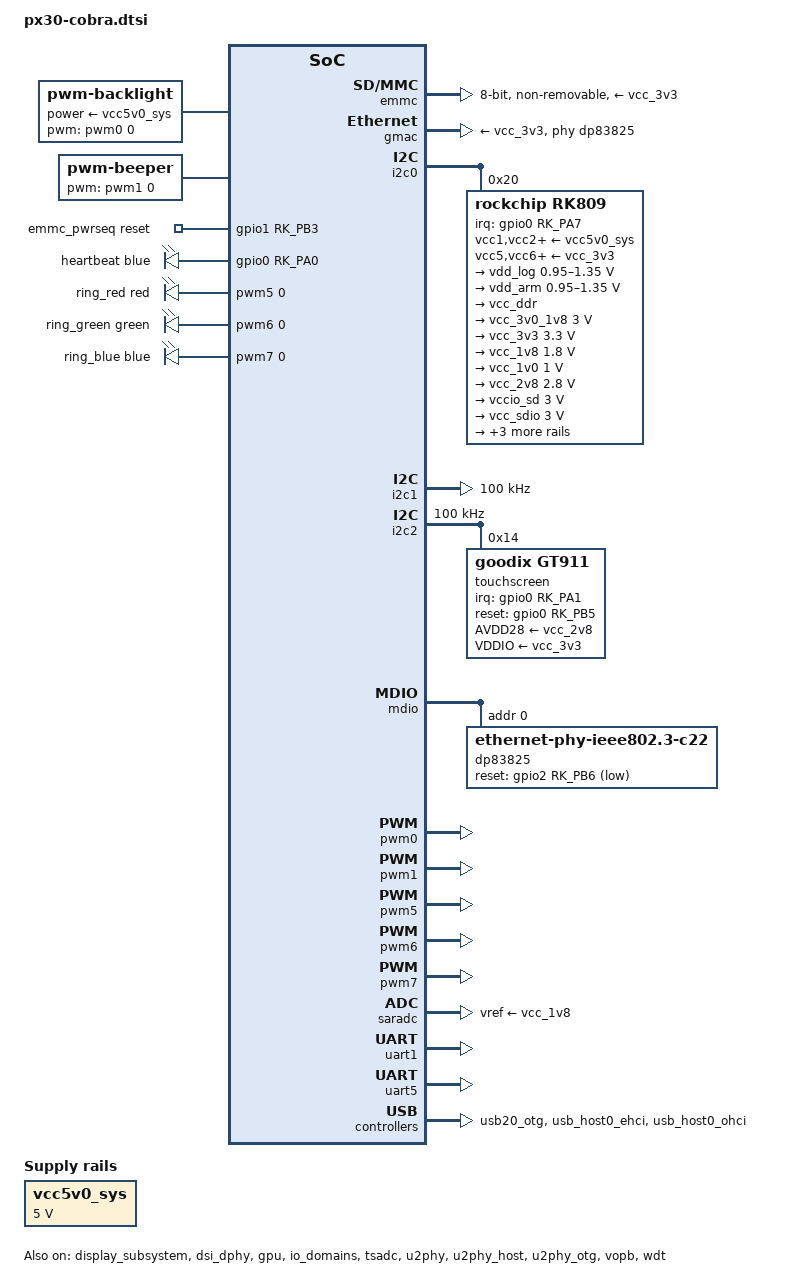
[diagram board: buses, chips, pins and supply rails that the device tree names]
// SPDX-License-Identifier: (GPL-2.0+ OR MIT)
/*
 * Copyright (c) 2025 Cherry Embedded Solutions GmbH
 */

/dts-v1/;
#include <dt-bindings/gpio/gpio.h>
#include <dt-bindings/input/input.h>
#include <dt-bindings/leds/common.h>
#include <dt-bindings/pinctrl/rockchip.h>
#include "px30.dtsi"

/ {
	aliases {
		ethernet0 = &gmac;
		mmc0 = &emmc;
	};

	chosen {
		stdout-path = "serial5:115200n8";
	};

	backlight: backlight {
		compatible = "pwm-backlight";
		power-supply = <&vcc5v0_sys>;
		pwms = <&pwm0 0 25000 0>;
	};

	beeper {
		compatible = "pwm-beeper";
		pwms = <&pwm1 0 1000 0>;
	};

	emmc_pwrseq: emmc-pwrseq {
		compatible = "mmc-pwrseq-emmc";
		pinctrl-0 = <&emmc_reset>;
		pinctrl-names = "default";
		reset-gpios = <&gpio1 RK_PB3 GPIO_ACTIVE_HIGH>;
	};

	gpio-leds {
		compatible = "gpio-leds";
		pinctrl-names = "default";
		pinctrl-0 = <&heartbeat_led_pin>;

		/*
		 * LED14 on the PCB. Typically NOT populated.
		 */
		led-0 {
			color = <LED_COLOR_ID_BLUE>;
			gpios = <&gpio0 RK_PA0 GPIO_ACTIVE_HIGH>;
			label = "heartbeat";
			linux,default-trigger = "heartbeat";
		};
	};

	pwm-leds {
		compatible = "pwm-leds";

		ring_red: led-0 {
			color = <LED_COLOR_ID_RED>;
			default-state = "off";
			label = "ring_red";
			pwms = <&pwm5 0 1000000 0>;
			max-brightness = <255>;
		};

		ring_green: led-1 {
			color = <LED_COLOR_ID_GREEN>;
			default-state = "off";
			label = "ring_green";
			pwms = <&pwm6 0 1000000 0>;
			max-brightness = <255>;
		};

		ring_blue: led-2 {
			color = <LED_COLOR_ID_BLUE>;
			default-state = "off";
			label = "ring_blue";
			pwms = <&pwm7 0 1000000 0>;
			max-brightness = <255>;
		};
	};

	/* also named 5V_Q7 in schematics */
	vcc5v0_sys: regulator-vccsys {
		compatible = "regulator-fixed";
		regulator-name = "vcc5v0_sys";
		regulator-always-on;
		regulator-boot-on;
		regulator-min-microvolt = <5000000>;
		regulator-max-microvolt = <5000000>;
	};
};

&cpu0 {
	cpu-supply = <&vdd_arm>;
};

&cpu1 {
	cpu-supply = <&vdd_arm>;
};

&cpu2 {
	cpu-supply = <&vdd_arm>;
};

&cpu3 {
	cpu-supply = <&vdd_arm>;
};

&display_subsystem {
	status = "okay";
};

&dsi_dphy {
	status = "okay";
};

&emmc {
	bus-width = <8>;
	cap-mmc-highspeed;
	/*
	 * For hs200 support, U-Boot would have to set the RK809 DCDC4
	 * rail to 1.8V from the default of 3.0V. It doesn't do that on
	 * devices out in the field, so disable hs200.
	 * mmc-hs200-1_8v;
	 */
	mmc-pwrseq = <&emmc_pwrseq>;
	non-removable;
	vmmc-supply = <&vcc_3v3>;
	vqmmc-supply = <&vcc_emmc>;
	status = "okay";
};

&gmac {
	clock_in_out = "output";
	phy-handle = <&dp83825>;
	phy-supply = <&vcc_3v3>;
	status = "okay";
};

&gpu {
	mali-supply = <&vdd_log>;
	status = "okay";
};

/* I2C0 = PMIC, STUSB4500, RTC */
&i2c0 {
	status = "okay";

	rk809: pmic@20 {
		compatible = "rockchip,rk809";
		reg = <0x20>;
		#clock-cells = <0>;
		clock-output-names = "xin32k";
		interrupt-parent = <&gpio0>;
		interrupts = <RK_PA7 IRQ_TYPE_LEVEL_LOW>;
		pinctrl-names = "default";
		pinctrl-0 = <&pmic_int>;
		system-power-controller;
		wakeup-source;

		vcc1-supply = <&vcc5v0_sys>;
		vcc2-supply = <&vcc5v0_sys>;
		vcc3-supply = <&vcc5v0_sys>;
		vcc4-supply = <&vcc5v0_sys>;
		vcc5-supply = <&vcc_3v3>;
		vcc6-supply = <&vcc_3v3>;
		vcc7-supply = <&vcc_3v3>;
		vcc9-supply = <&vcc5v0_sys>;

		regulators {
			vdd_log: DCDC_REG1 {
				regulator-name = "vdd_log";
				regulator-always-on;
				regulator-boot-on;
				regulator-min-microvolt = <950000>;
				regulator-max-microvolt = <1350000>;
				regulator-ramp-delay = <6001>;

				regulator-state-mem {
					regulator-on-in-suspend;
					regulator-suspend-microvolt = <950000>;
				};
			};

			vdd_arm: DCDC_REG2 {
				regulator-name = "vdd_arm";
				regulator-always-on;
				regulator-boot-on;
				regulator-min-microvolt = <950000>;
				regulator-max-microvolt = <1350000>;
				regulator-ramp-delay = <6001>;

				regulator-state-mem {
					regulator-off-in-suspend;
					regulator-suspend-microvolt = <950000>;
				};
			};

			vcc_ddr: DCDC_REG3 {
				regulator-name = "vcc_ddr";
				regulator-always-on;
				regulator-boot-on;

				regulator-state-mem {
					regulator-on-in-suspend;
				};
			};

			vcc_3v0_1v8: vcc_emmc: DCDC_REG4 {
				regulator-name = "vcc_3v0_1v8";
				regulator-always-on;
				regulator-boot-on;
				regulator-min-microvolt = <3000000>;
				regulator-max-microvolt = <3000000>;

				regulator-state-mem {
					regulator-on-in-suspend;
					regulator-suspend-microvolt = <3000000>;
				};
			};

			vcc_3v3: DCDC_REG5 {
				regulator-name = "vcc_3v3";
				regulator-always-on;
				regulator-boot-on;
				regulator-min-microvolt = <3300000>;
				regulator-max-microvolt = <3300000>;

				regulator-state-mem {
					regulator-on-in-suspend;
					regulator-suspend-microvolt = <3300000>;
				};
			};

			vcc_1v8: LDO_REG2 {
				regulator-name = "vcc_1v8";
				regulator-always-on;
				regulator-boot-on;
				regulator-min-microvolt = <1800000>;
				regulator-max-microvolt = <1800000>;

				regulator-state-mem {
					regulator-on-in-suspend;
					regulator-suspend-microvolt = <1800000>;
				};
			};

			vcc_1v0: LDO_REG3 {
				regulator-name = "vcc_1v0";
				regulator-always-on;
				regulator-boot-on;
				regulator-min-microvolt = <1000000>;
				regulator-max-microvolt = <1000000>;

				regulator-state-mem {
					regulator-on-in-suspend;
					regulator-suspend-microvolt = <1000000>;
				};
			};

			vcc_2v8: LDO_REG4 {
				regulator-name = "vcc_2v8";
				regulator-always-on;
				regulator-boot-on;
				regulator-min-microvolt = <2800000>;
				regulator-max-microvolt = <2800000>;

				regulator-state-mem {
					regulator-off-in-suspend;
					regulator-suspend-microvolt = <2800000>;
				};
			};

			/*
			 * vccio_sd also supplies the vmmc supply on prototypes
			 * with sd-slots, so needs to stay single voltage for
			 * those. Production models don't have sd-slots anymore
			 * and only supply vccio2 from this regulator.
			 */
			vccio_sd: LDO_REG5 {
				regulator-name = "vccio_sd";
				regulator-always-on;
				regulator-boot-on;
				regulator-min-microvolt = <3000000>;
				regulator-max-microvolt = <3000000>;

				regulator-state-mem {
					regulator-on-in-suspend;
					regulator-suspend-microvolt = <3000000>;
				};
			};

			/* vcc_sdio also supplies the pull-up resistors for i2c1 */
			vcc_sdio: LDO_REG6 {
				regulator-name = "vcc_sdio";
				regulator-always-on;
				regulator-boot-on;
				regulator-min-microvolt = <3000000>;
				regulator-max-microvolt = <3000000>;

				regulator-state-mem {
					regulator-on-in-suspend;
					regulator-suspend-microvolt = <3300000>;
				};
			};

			vcc_lcd: LDO_REG7 {
				regulator-name = "vcc_lcd";
				regulator-always-on;
				regulator-boot-on;
				regulator-min-microvolt = <1000000>;
				regulator-max-microvolt = <1000000>;

				regulator-state-mem {
					regulator-off-in-suspend;
					regulator-suspend-microvolt = <1000000>;
				};
			};

			vcc_1v8_lcd: LDO_REG8 {
				regulator-name = "vcc_1v8_lcd";
				regulator-always-on;
				regulator-boot-on;
				regulator-min-microvolt = <1800000>;
				regulator-max-microvolt = <1800000>;

				regulator-state-mem {
					regulator-on-in-suspend;
					regulator-suspend-microvolt = <1800000>;
				};
			};

			vcca_1v8: LDO_REG9 {
				regulator-name = "vcca_1v8";
				regulator-always-on;
				regulator-boot-on;
				regulator-min-microvolt = <1800000>;
				regulator-max-microvolt = <1800000>;

				regulator-state-mem {
					regulator-off-in-suspend;
					regulator-suspend-microvolt = <1800000>;
				};
			};
		};
	};
};

&i2c1 {
	clock-frequency = <100000>;
	status = "okay";
};

&i2c2 {
	clock-frequency = <100000>;
	i2c-scl-falling-time-ns = <50>;
	i2c-scl-rising-time-ns = <300>;
	status = "okay";

	touchscreen@14 {
		compatible = "goodix,gt911";
		reg = <0x14>;
		AVDD28-supply = <&vcc_2v8>;
		interrupt-parent = <&gpio0>;
		interrupts = <RK_PA1 IRQ_TYPE_LEVEL_LOW>;
		irq-gpios = <&gpio0 RK_PA1 GPIO_ACTIVE_HIGH>;
		pinctrl-names = "default";
		pinctrl-0 = <&tch_int &tch_rst>;
		reset-gpios = <&gpio0 RK_PB5 GPIO_ACTIVE_HIGH>;
		touchscreen-inverted-x;
		VDDIO-supply = <&vcc_3v3>;
	};
};

/*
 * Enable pull-ups to prevent floating pins when the touch
 * panel is not connected.
 */
&i2c2_xfer {
	rockchip,pins =
		<2 RK_PB7 2 &pcfg_pull_up>,
		<2 RK_PC0 2 &pcfg_pull_up>;
};

&io_domains {
	vccio1-supply = <&vcc_sdio>;
	vccio2-supply = <&vccio_sd>;
	vccio3-supply = <&vcc_3v3>;
	vccio4-supply = <&vcc_3v3>;
	vccio5-supply = <&vcc_1v8>;
	vccio6-supply = <&vcc_emmc>;
	status = "okay";
};

&mdio {
	dp83825: ethernet-phy@0 {
		compatible = "ethernet-phy-ieee802.3-c22";
		reg = <0x0>;
		pinctrl-names = "default";
		pinctrl-0 = <&phy_rst>;
		reset-assert-us = <50000>;
		reset-deassert-us = <50000>;
		reset-gpios = <&gpio2 RK_PB6 GPIO_ACTIVE_LOW>;
	};
};

&pinctrl {
	pinctrl-names = "default";
	pinctrl-0 = <&cobra_pin_hog>;

	hog {
		cobra_pin_hog: cobra-pin-hog {
			rockchip,pins =
				/* USB_HUB2_RESET */
				<0 RK_PA5 RK_FUNC_GPIO &pcfg_output_high>,
				/* USB_HUB1_RESET */
				<0 RK_PB4 RK_FUNC_GPIO &pcfg_output_high>,
				/* The default pull-down can keep the IC in reset. */
				<3 RK_PB6 RK_FUNC_GPIO &pcfg_pull_none>,
				/* USB-A 5V enable */
				<3 RK_PC0 RK_FUNC_GPIO &pcfg_output_high>,
				/* USB-A data enable */
				<3 RK_PD3 RK_FUNC_GPIO &pcfg_output_high>;
		};
	};

	emmc {
		emmc_reset: emmc-reset {
			rockchip,pins =
				<1 RK_PB3 RK_FUNC_GPIO &pcfg_pull_none>;
		};
	};

	ethernet {
		phy_rst: phy-rst {
			rockchip,pins =
				<2 RK_PB6 RK_FUNC_GPIO &pcfg_pull_none>;
		};
	};

	leds {
		heartbeat_led_pin: heartbeat-led-pin {
			rockchip,pins =
				<0 RK_PA0 RK_FUNC_GPIO &pcfg_pull_none>;
		};
	};

	panel {
		dsp_rst: dsp-rst {
			rockchip,pins =
				<0 RK_PB2 RK_FUNC_GPIO &pcfg_pull_down>;
		};

		tch_int: tch-int {
			rockchip,pins =
				<0 RK_PA1 RK_FUNC_GPIO &pcfg_pull_none>;
		};

		tch_rst: tch-rst {
			rockchip,pins =
				<0 RK_PB5 RK_FUNC_GPIO &pcfg_pull_none>;
		};
	};

	pmic {
		pmic_int: pmic-int {
			rockchip,pins =
				<0 RK_PA7 RK_FUNC_GPIO &pcfg_pull_up>;
		};
	};
};

&pmu_io_domains {
	pmuio1-supply = <&vcc_3v3>;
	pmuio2-supply = <&vcc_3v3>;
	status = "okay";
};

&pwm0 {
	status = "okay";
};

&pwm1 {
	status = "okay";
};

&pwm5 {
	status = "okay";
};

&pwm6 {
	status = "okay";
};

&pwm7 {
	status = "okay";
};

&saradc {
	vref-supply = <&vcc_1v8>;
	status = "okay";
};

&tsadc {
	status = "okay";
};

&u2phy {
	status = "okay";
};

&u2phy_host {
	status = "okay";
};

&u2phy_otg {
	status = "okay";
};

&uart1 {
	/delete-property/ dmas;
	/delete-property/ dma-names;
	pinctrl-names = "default";
	pinctrl-0 = <&uart1_xfer>;
	status = "okay";
};

&uart5 {
	pinctrl-0 = <&uart5_xfer>;
	status = "okay";
};

&usb20_otg {
	status = "okay";
};

&usb_host0_ehci {
	status = "okay";
};

&usb_host0_ohci {
	status = "okay";
};

&vopb {
	status = "okay";
};

&vopb_mmu {
	status = "okay";
};

&vopl {
	status = "disabled";
};

&vopl_mmu {
	status = "disabled";
};

&wdt {
	status = "okay";
};
